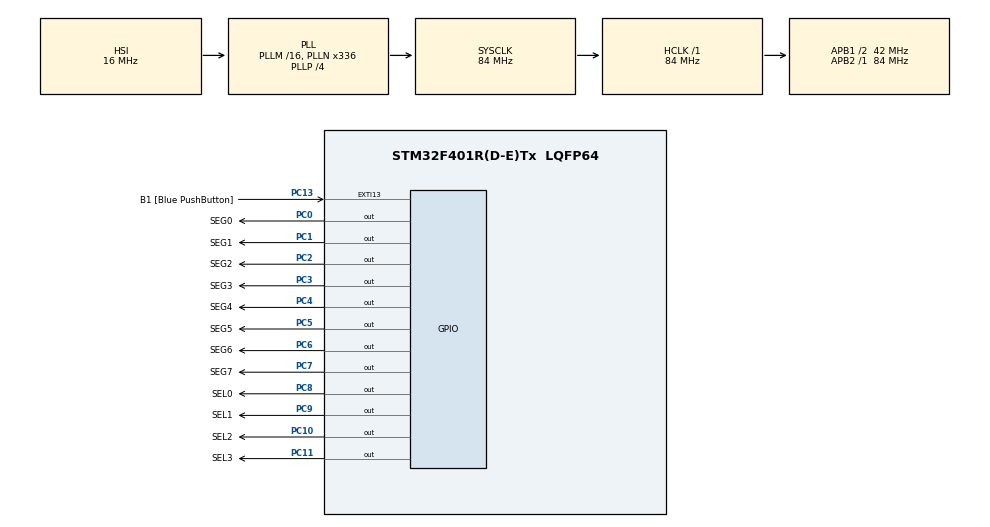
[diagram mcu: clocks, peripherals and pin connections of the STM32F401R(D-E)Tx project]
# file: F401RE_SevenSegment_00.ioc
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Mcu.Family=STM32F4
Mcu.Name=STM32F401R(D-E)Tx
Mcu.Package=LQFP64
NVIC.PriorityGroup=NVIC_PRIORITYGROUP_0
PA13.GPIO_Label=TMS
PA13.Signal=SYS_JTMS-SWDIO
PA14.GPIO_Label=TCK
PA14.Signal=SYS_JTCK-SWCLK
PA2.GPIO_Label=USART_TX
PA2.GPIO_Mode=GPIO_MODE_AF_PP
PA2.GPIO_PuPd=GPIO_NOPULL
PA2.GPIO_Speed=GPIO_SPEED_FREQ_LOW
PA2.Signal=USART2_TX
PA3.GPIO_Label=USART_RX
PA3.GPIO_Mode=GPIO_MODE_AF_PP
PA3.GPIO_PuPd=GPIO_NOPULL
PA3.GPIO_Speed=GPIO_SPEED_FREQ_LOW
PA3.Signal=USART2_RX
PB3.GPIO_Label=SWO
PB3.Signal=SYS_JTDO-SWO
PC0.GPIO_Label=SEG0
PC0.Signal=GPIO_Output
PC1.GPIO_Label=SEG1
PC1.Signal=GPIO_Output
PC10.GPIO_Label=SEL2
PC10.Signal=GPIO_Output
PC11.GPIO_Label=SEL3
PC11.Signal=GPIO_Output
PC13-ANTI_TAMP.GPIO_Label=B1 [Blue PushButton]
PC13-ANTI_TAMP.GPIO_ModeDefaultEXTI=GPIO_MODE_EVT_RISING
PC13-ANTI_TAMP.GPIO_PuPd=GPIO_NOPULL
PC13-ANTI_TAMP.Signal=GPXTI13
PC14-OSC32_IN.Signal=RCC_OSC32_IN
PC15-OSC32_OUT.Signal=RCC_OSC32_OUT
PC2.GPIO_Label=SEG2
PC2.Signal=GPIO_Output
PC3.GPIO_Label=SEG3
PC3.Signal=GPIO_Output
PC4.GPIO_Label=SEG4
PC4.Signal=GPIO_Output
PC5.GPIO_Label=SEG5
PC5.Signal=GPIO_Output
PC6.GPIO_Label=SEG6
PC6.Signal=GPIO_Output
PC7.GPIO_Label=SEG7
PC7.Signal=GPIO_Output
PC8.GPIO_Label=SEL0
PC8.Signal=GPIO_Output
PC9.GPIO_Label=SEL1
PC9.Signal=GPIO_Output
PH0\ -\ OSC_IN.Signal=RCC_OSC_IN
PH1\ -\ OSC_OUT.Signal=RCC_OSC_OUT
ProjectManager.HeapSize=0x200
ProjectManager.StackSize=0x400
ProjectManager.TargetToolchain=MDK-ARM V5
RCC.AHBFreq_Value=84000000
RCC.APB1CLKDivider=RCC_HCLK_DIV2
RCC.APB1Freq_Value=42000000
RCC.APB1TimFreq_Value=84000000
RCC.APB2Freq_Value=84000000
RCC.APB2TimFreq_Value=84000000
RCC.CortexFreq_Value=84000000
RCC.HCLKFreq_Value=84000000
RCC.HSE_VALUE=8000000
RCC.HSI_VALUE=16000000
RCC.LSE_VALUE=32768
RCC.PLLN=336
RCC.PLLP=RCC_PLLP_DIV4
RCC.PLLQ=7
RCC.SYSCLKFreq_VALUE=84000000
RCC.SYSCLKSource=RCC_SYSCLKSOURCE_PLLCLK
RCC.VCOOutputFreq_Value=336000000
board=NUCLEO-F401RE

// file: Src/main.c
/**
  ******************************************************************************
  * File Name          : main.c
  * Description        : Main program body
  ******************************************************************************
  *
  * COPYRIGHT(c) 2016 STMicroelectronics
  *
  * Redistribution and use in source and binary forms, with or without modification,
  * are permitted provided that the following conditions are met:
  *   1. Redistributions of source code must retain the above copyright notice,
  *      this list of conditions and the following disclaimer.
  *   2. Redistributions in binary form must reproduce the above copyright notice,
  *      this list of conditions and the following disclaimer in the documentation
  *      and/or other materials provided with the distribution.
  *   3. Neither the name of STMicroelectronics nor the names of its contributors
  *      may be used to endorse or promote products derived from this software
  *      without specific prior written permission.
  *
  * THIS SOFTWARE IS PROVIDED BY THE COPYRIGHT HOLDERS AND CONTRIBUTORS "AS IS"
  * AND ANY EXPRESS OR IMPLIED WARRANTIES, INCLUDING, BUT NOT LIMITED TO, THE
  * IMPLIED WARRANTIES OF MERCHANTABILITY AND FITNESS FOR A PARTICULAR PURPOSE ARE
  * DISCLAIMED. IN NO EVENT SHALL THE COPYRIGHT HOLDER OR CONTRIBUTORS BE LIABLE
  * FOR ANY DIRECT, INDIRECT, INCIDENTAL, SPECIAL, EXEMPLARY, OR CONSEQUENTIAL
  * DAMAGES (INCLUDING, BUT NOT LIMITED TO, PROCUREMENT OF SUBSTITUTE GOODS OR
  * SERVICES; LOSS OF USE, DATA, OR PROFITS; OR BUSINESS INTERRUPTION) HOWEVER
  * CAUSED AND ON ANY THEORY OF LIABILITY, WHETHER IN CONTRACT, STRICT LIABILITY,
  * OR TORT (INCLUDING NEGLIGENCE OR OTHERWISE) ARISING IN ANY WAY OUT OF THE USE
  * OF THIS SOFTWARE, EVEN IF ADVISED OF THE POSSIBILITY OF SUCH DAMAGE.
  *
  ******************************************************************************
  */
#include "stm32f4xx_hal.h"

/* USER CODE BEGIN PV */
/* Private variables ---------------------------------------------------------*/
/*
	7SEGMENT LED Pin Assgin
	SEL3 (DIG4)	-> PC11
	SEL2 (DIG3)	-> PC10
	SEL1 (DIG2)	-> PC9
	SEL0 (DIG1)	-> PC8
	SEG7(A) 		-> PC7
	SEG6(B) 		-> PC6
	SEG5(C) 		-> PC5
	SEG4(D) 		-> PC4
	SEG3(E) 		-> PC3
	SEG2(F) 		-> PC2
	SEG1(G) 		-> PC1
	SEG0(DP) 		-> PC0
*/
/* USER CODE END PV */

void SystemClock_Config(void);
void Error_Handler(void);
static void MX_GPIO_Init(void);

/* USER CODE BEGIN PFP */
/* Private function prototypes -----------------------------------------------*/

/* USER CODE END PFP */

/* USER CODE BEGIN 0 */
void SelectSel(int sel)
{
	int mask;

	// セルが0-3以外の時はSEL3-0は消灯
	if((sel<0)||(sel>3)){
		HAL_GPIO_WritePin(GPIOC, 0xf00, GPIO_PIN_RESET);
		return;
	}

	sel = 3 - sel;

	// 選択されたセルのSELを点灯
	mask=(1<<(sel+8));
	HAL_GPIO_WritePin(GPIOC, mask, GPIO_PIN_SET);
	// 選択されたセル以外のSELを消灯
	mask=(~mask)&0xf00;
	HAL_GPIO_WritePin(GPIOC, mask, GPIO_PIN_RESET);
}

void ShowSeg(int val)
{
	char pat[16] = { 0xfc, 0x60, 0xda, 0xf2, 0x66, 0xb6, 0xbe, 0xe4,		// 0-7
							0xfe, 0xe6, 0xee, 0x3e, 0x1a, 0x7a, 0x9e, 0x8e};	// 8-F
	int mask;
	mask = pat[val];
							HAL_GPIO_WritePin(GPIOC, mask, GPIO_PIN_RESET);
							mask = (~mask)&0xff;
							HAL_GPIO_WritePin(GPIOC, mask, GPIO_PIN_SET);
}

void ShowData(int dat)
{
	int i;
	int val;

	for(i = 0; i < 4; i++){
		val = (dat & 0x0f);
		ShowSeg(val);
		SelectSel(i);
		HAL_Delay(1);
		SelectSel(-1);
		dat>>=4;
	}
}

/* USER CODE END 0 */

int main(void)
{

	int i;

  /* MCU Configuration----------------------------------------------------------*/

  /* Reset of all peripherals, Initializes the Flash interface and the Systick. */
  HAL_Init();

  /* Configure the system clock */
  SystemClock_Config();

  /* Initialize all configured peripherals */
  MX_GPIO_Init();

  /* Infinite loop */
  /* USER CODE BEGIN WHILE */
  while (1)
  {
	  ShowData(0x1234);
  /* USER CODE END WHILE */
  }

}

/** System Clock Configuration
*/
void SystemClock_Config(void)
{

  RCC_OscInitTypeDef RCC_OscInitStruct;
  RCC_ClkInitTypeDef RCC_ClkInitStruct;

  __HAL_RCC_PWR_CLK_ENABLE();

  __HAL_PWR_VOLTAGESCALING_CONFIG(PWR_REGULATOR_VOLTAGE_SCALE2);

  RCC_OscInitStruct.OscillatorType = RCC_OSCILLATORTYPE_HSI;
  RCC_OscInitStruct.HSIState = RCC_HSI_ON;
  RCC_OscInitStruct.HSICalibrationValue = 16;
  RCC_OscInitStruct.PLL.PLLState = RCC_PLL_ON;
  RCC_OscInitStruct.PLL.PLLSource = RCC_PLLSOURCE_HSI;
  RCC_OscInitStruct.PLL.PLLM = 16;
  RCC_OscInitStruct.PLL.PLLN = 336;
  RCC_OscInitStruct.PLL.PLLP = RCC_PLLP_DIV4;
  RCC_OscInitStruct.PLL.PLLQ = 7;
  if (HAL_RCC_OscConfig(&RCC_OscInitStruct) != HAL_OK)
  {
    Error_Handler();
  }

  RCC_ClkInitStruct.ClockType = RCC_CLOCKTYPE_HCLK|RCC_CLOCKTYPE_SYSCLK
                              |RCC_CLOCKTYPE_PCLK1|RCC_CLOCKTYPE_PCLK2;
  RCC_ClkInitStruct.SYSCLKSource = RCC_SYSCLKSOURCE_PLLCLK;
  RCC_ClkInitStruct.AHBCLKDivider = RCC_SYSCLK_DIV1;
  RCC_ClkInitStruct.APB1CLKDivider = RCC_HCLK_DIV2;
  RCC_ClkInitStruct.APB2CLKDivider = RCC_HCLK_DIV1;
  if (HAL_RCC_ClockConfig(&RCC_ClkInitStruct, FLASH_LATENCY_2) != HAL_OK)
  {
    Error_Handler();
  }

  HAL_SYSTICK_Config(HAL_RCC_GetHCLKFreq()/1000);

  HAL_SYSTICK_CLKSourceConfig(SYSTICK_CLKSOURCE_HCLK);

  /* SysTick_IRQn interrupt configuration */
  HAL_NVIC_SetPriority(SysTick_IRQn, 0, 0);
}

/** Configure pins as
        * Analog
        * Input
        * Output
        * EVENT_OUT
        * EXTI
     PA2   ------> USART2_TX
     PA3   ------> USART2_RX
*/
static void MX_GPIO_Init(void)
{

  GPIO_InitTypeDef GPIO_InitStruct;

  /* GPIO Ports Clock Enable */
  __HAL_RCC_GPIOC_CLK_ENABLE();
  __HAL_RCC_GPIOH_CLK_ENABLE();
  __HAL_RCC_GPIOA_CLK_ENABLE();
  __HAL_RCC_GPIOB_CLK_ENABLE();

  /*Configure GPIO pin : B1_Pin */
  GPIO_InitStruct.Pin = B1_Pin;
  GPIO_InitStruct.Mode = GPIO_MODE_EVT_RISING;
  GPIO_InitStruct.Pull = GPIO_NOPULL;
  HAL_GPIO_Init(B1_GPIO_Port, &GPIO_InitStruct);

  /*Configure GPIO pins : SEG0_Pin SEG1_Pin SEG2_Pin SEG3_Pin
                           SEG4_Pin SEG5_Pin SEG6_Pin SEG7_Pin
                           SEL0_Pin SEL1_Pin SEL2_Pin SEL3_Pin */
  GPIO_InitStruct.Pin = SEG0_Pin|SEG1_Pin|SEG2_Pin|SEG3_Pin
                          |SEG4_Pin|SEG5_Pin|SEG6_Pin|SEG7_Pin
                          |SEL0_Pin|SEL1_Pin|SEL2_Pin|SEL3_Pin;
  GPIO_InitStruct.Mode = GPIO_MODE_OUTPUT_PP;
  GPIO_InitStruct.Pull = GPIO_NOPULL;
  GPIO_InitStruct.Speed = GPIO_SPEED_FREQ_LOW;
  HAL_GPIO_Init(GPIOC, &GPIO_InitStruct);

  /*Configure GPIO pins : USART_TX_Pin USART_RX_Pin */
  GPIO_InitStruct.Pin = USART_TX_Pin|USART_RX_Pin;
  GPIO_InitStruct.Mode = GPIO_MODE_AF_PP;
  GPIO_InitStruct.Pull = GPIO_NOPULL;
  GPIO_InitStruct.Speed = GPIO_SPEED_FREQ_LOW;
  GPIO_InitStruct.Alternate = GPIO_AF7_USART2;
  HAL_GPIO_Init(GPIOA, &GPIO_InitStruct);

  /*Configure GPIO pin Output Level */
  HAL_GPIO_WritePin(GPIOC, SEG0_Pin|SEG1_Pin|SEG2_Pin|SEG3_Pin
                          |SEG4_Pin|SEG5_Pin|SEG6_Pin|SEG7_Pin
                          |SEL0_Pin|SEL1_Pin|SEL2_Pin|SEL3_Pin, GPIO_PIN_RESET);

}

void Error_Handler(void)
{
  while(1)
  {
  }
}

/************************ (C) COPYRIGHT STMicroelectronics *****END OF FILE****/
